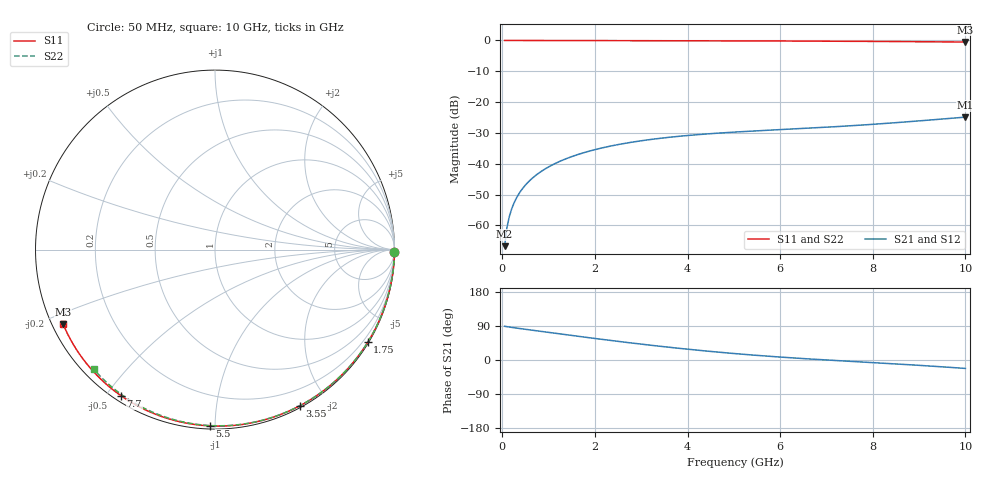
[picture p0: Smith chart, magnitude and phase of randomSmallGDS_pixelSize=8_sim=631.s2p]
! freq	dB(S11)	phase(S11)	dB(S12)	phase(S12)
!  dB(S21)	phase(S21)	dB(S22)	phase(S22)
!S-par simulation data
#  GHz  S  DB  R 50
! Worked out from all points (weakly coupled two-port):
!   200 points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, 50 MHz to 10 GHz, reference 50 ohm
!   highest |S21| = -24.86 dB at 10 GHz (marker M1); lowest = -66.7 dB at 50 MHz (marker M2)
!   lowest |S11| = -0.5 dB at 10 GHz (marker M3), VSWR 33.86, Z = 1.56 - j11.6 ohm
!   |S11| at or under -10 dB: nowhere
!   |S22| runs from -0.5 to 0.0 dB; largest |S21 - S12| = 0
!   S11 on the Smith chart (normalised r, x): 50 MHz: open; 1.75 GHz: 0.03, -3.57; 3.55 GHz: 0.02, -1.68; 5.5 GHz: 0.02, -0.97; 7.7 GHz: 0.02, -0.55; 10 GHz: 0.03, -0.23
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0.05  -0.00 -0.9  -66.71 88.9  -66.71 88.9  -0.00 -0.8
0.1  -0.00 -1.8  -60.71 87.9  -60.71 87.9  -0.00 -1.6
0.15  -0.00 -2.7  -57.21 87.0  -57.21 87.0  -0.00 -2.4
0.2  -0.00 -3.6  -54.73 86.0  -54.73 86.0  -0.00 -3.2
0.25  -0.00 -4.6  -52.82 85.2  -52.82 85.2  -0.00 -4.0
0.35  -0.00 -6.4  -49.93 83.5  -49.93 83.5  -0.00 -5.6
0.5  -0.01 -9.1  -46.88 81.0  -46.88 81.0  -0.01 -8.0
0.7  -0.01 -12.7  -44.01 77.7  -44.01 77.7  -0.01 -11.1
1  -0.02 -18.0  -41.00 72.8  -41.00 72.8  -0.02 -15.8
1.35  -0.03 -24.2  -38.52 67.2  -38.52 67.2  -0.03 -21.3
1.75  -0.04 -31.3  -36.44 60.7  -36.44 60.7  -0.04 -27.4
2.5  -0.06 -44.2  -33.77 49.1  -33.77 49.1  -0.05 -38.8
3.4  -0.08 -59.2  -31.75 36.3  -31.75 36.3  -0.07 -52.1
3.55  -0.08 -61.6  -31.49 34.3  -31.49 34.3  -0.08 -54.3
4.3  -0.11 -73.5  -30.45 24.9  -30.45 24.9  -0.09 -64.9
5.05  -0.13 -85.0  -29.68 16.6  -29.68 16.6  -0.12 -75.2
5.5  -0.15 -91.7  -29.30 12.2  -29.30 12.2  -0.13 -81.1
6.7  -0.21 -108.9  -28.38 2.2  -28.38 2.2  -0.19 -96.5
7.7  -0.28 -122.7  -27.50 -4.8  -27.50 -4.8  -0.25 -108.7
8.35  -0.34 -131.6  -26.83 -9.3  -26.83 -9.3  -0.30 -116.4
9.2  -0.42 -143.0  -25.85 -15.6  -25.85 -15.6  -0.37 -126.3
10  -0.51 -153.9  -24.86 -22.2  -24.86 -22.2  -0.46 -135.5
